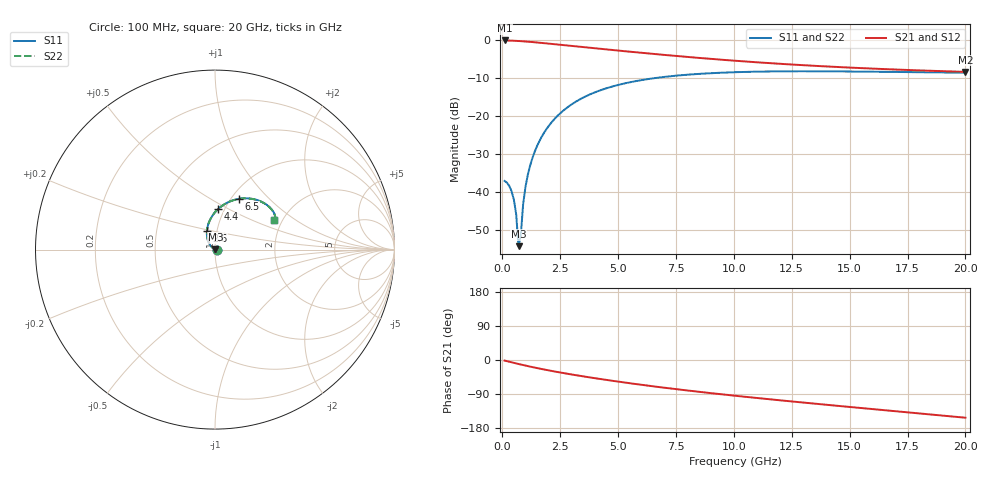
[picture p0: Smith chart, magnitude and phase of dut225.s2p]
! Touchstone file exported from HFSS 2024.1.0
!  File:  C:/UserFiles/LocalFiles/RDL_TSV_Batchsim/temp_RDL_TSV_225_1779449859.aedt
!  Generated:  07:56:18 PM May 22, 2026
!  Design:  RDL_TSV
!  Project:  temp_RDL_TSV_225_1779449859
!  Setup:  Setup1
!  Solution:  Sweep
! Variables:
!  dtsv = 10.34um
!  hbump = 3um
!  htsv = 92.92um
!  ldown = 151.17um
!  lrdl = 309.32um
!  p = 40
!  p1 = 58.27um
!  rhole = 10um
!  subl = 1690.79um
!  t = 450um
!  tdown = 3.13um
!  trdl = 3.8um
!  viad = 10um
!  wdown = 10.22um
!  wrdl = 13.36um
!  xbump = 18um
# GHz S MA R 50.000000
! Terminal data exported
! Port[1] = TM1_1_T1
! Port[2] = TM1_4_T1
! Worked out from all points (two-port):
!   200 points, 100 MHz to 20 GHz, reference 50 ohm
!   highest |S21| = -0.13 dB at 100 MHz (marker M1); lowest = -8.4 dB at 20 GHz (marker M2)
!   |S21| within 3 dB of the highest: start of sweep to 5.576 GHz
!   lowest |S11| = -54.3 dB at 700 MHz (marker M3), VSWR 1.00, Z = 50.2 + j0.0596 ohm
!   |S11| at or under -10 dB: start of sweep to 6.63 GHz
!   |S22| runs from -54.3 to -8.2 dB; largest |S21 - S12| = 1.5e-14
!   S11 on the Smith chart (normalised r, x): 100 MHz: 1.03, -0.00; 2.6 GHz: 0.89, +0.19; 4.4 GHz: 0.93, +0.44; 6.5 GHz: 1.08, +0.68; 20 GHz: 1.81, +0.70
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0.1  0.01392 -1.5  0.9854 -1.5  0.9854 -1.5  0.01392 -1.5
! Gamma 0 0 0 0
! Port Impedance 50 0 50 0
0.3  0.012 -4.7  0.9824 -4.6  0.9824 -4.6  0.012 -4.7
0.5  0.0079 -6.8  0.977 -7.6  0.977 -7.6  0.007904 -6.8
0.6  0.005059 -4.5  0.9736 -9.0  0.9736 -9.0  0.005064 -4.5
0.7  0.001928 17.9  0.9697 -10.5  0.9697 -10.5  0.001934 17.8
0.8  0.002694 129.2  0.9653 -11.9  0.9653 -11.9  0.002685 129.1
0.9  0.006858 143.0  0.9607 -13.3  0.9607 -13.3  0.006846 143.0
1  0.01157 144.4  0.9556 -14.7  0.9556 -14.7  0.01155 144.4
1.1  0.01667 143.5  0.9503 -16.1  0.9503 -16.1  0.01665 143.5
1.3  0.02784 139.9  0.939 -18.8  0.939 -18.8  0.02781 139.9
1.5  0.04005 135.6  0.927 -21.3  0.927 -21.3  0.04001 135.6
1.8  0.0597 129.0  0.9083 -25.0  0.9083 -25.0  0.05966 129.0
2.2  0.08726 120.6  0.8829 -29.7  0.8829 -29.7  0.0872 120.6
2.6  0.1151 112.8  0.8579 -34.1  0.8579 -34.1  0.115 112.8
3.5  0.1747 97.9  0.8046 -43.3  0.8046 -43.3  0.1745 97.9
4.4  0.2263 85.7  0.7557 -51.7  0.7557 -51.7  0.2261 85.7
6.5  0.3123 64.8  0.6564 -69.3  0.6564 -69.3  0.312 64.8
6.8  0.3211 62.5  0.6439 -71.6  0.6439 -71.6  0.3208 62.5
10.1  0.3768 43.4  0.5314 -94.6  0.5314 -94.6  0.3764 43.4
13.4  0.3873 32.8  0.4582 -114.7  0.4582 -114.7  0.3869 32.8
16.7  0.3796 27.7  0.4112 -133.6  0.4112 -133.6  0.3791 27.7
20  0.3708 26.8  0.3801 -152.3  0.3801 -152.3  0.3704 26.8
